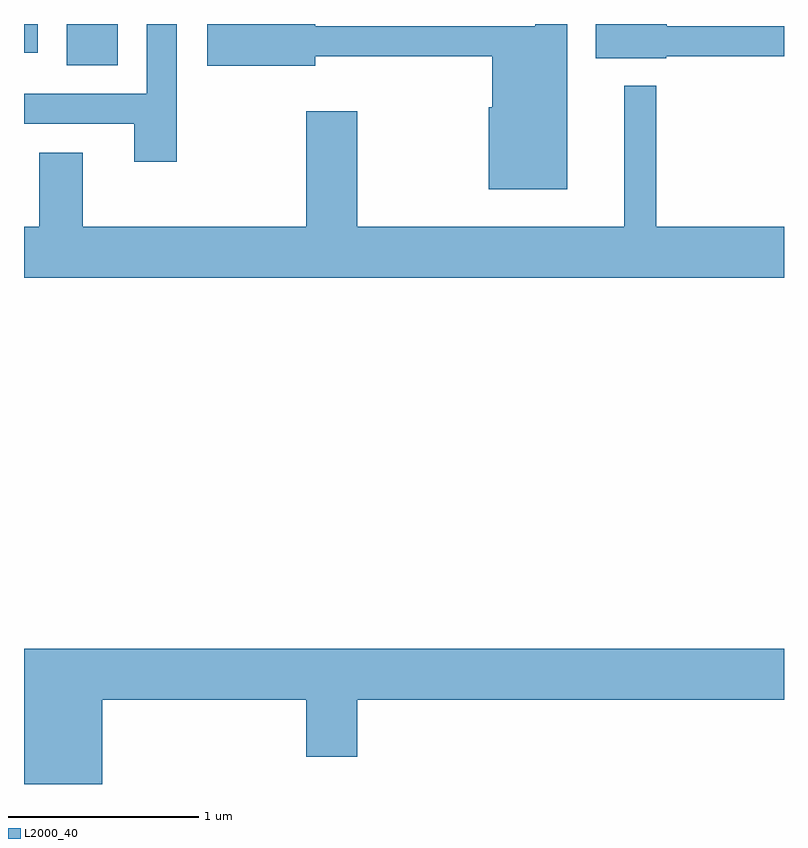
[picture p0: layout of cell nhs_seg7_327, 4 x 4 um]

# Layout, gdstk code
import gdstk
lib = gdstk.Library(unit=1e-6, precision=1e-09)
def R(c, l, rs):  # rectangles x0, y0, x1, y1
    for r in rs: c.add(gdstk.rectangle(r[:2], r[2:], *l))
def P(c, l, *ps):  # polygons
    for p in ps: c.add(gdstk.Polygon(p, *l))
L2000_40 = (2000, 40)

nhs_seg7_327 = lib.new_cell('nhs_seg7_327')
R(nhs_seg7_327, L2000_40, [(193.836,1782.036,194.104,1782.252), (193.611,1782.101,193.684,1782.252)])
P(nhs_seg7_327, L2000_40, [(196.469,1782.252),(196.301,1782.252),(196.301,1782.239),(195.144,1782.239),(195.144,1782.252),(194.576,1782.252),(194.576,1782.031),(195.144,1782.031),(195.144,1782.081),(196.076,1782.081),(196.076,1781.814),(196.056,1781.814),(196.056,1781.381),(196.469,1781.381)],
  [(196.99,1782.081),(197.611,1782.081),(197.611,1782.239),(196.994,1782.239),(196.994,1782.252),(196.621,1782.252),(196.621,1782.071),(196.99,1782.071)],
  [(194.414,1782.252),(194.256,1782.252),(194.256,1781.884),(193.611,1781.884),(193.611,1781.726),(194.191,1781.726),(194.191,1781.526),(194.414,1781.526)],
  [(197.611,1781.184),(196.939,1781.184),(196.939,1781.928),(196.771,1781.928),(196.771,1781.184),(195.364,1781.184),(195.364,1781.794),(195.096,1781.794),(195.096,1781.184),(193.919,1781.184),(193.919,1781.574),(193.691,1781.574),(193.691,1781.184),(193.611,1781.184),(193.611,1780.916),(197.611,1780.916)],
  [(194.024,1778.696),(195.096,1778.696),(195.096,1778.396),(195.364,1778.396),(195.364,1778.696),(197.611,1778.696),(197.611,1778.964),(193.611,1778.964),(193.611,1778.252),(194.024,1778.252)])

lib.write_gds('nhs_seg7_327.gds')
